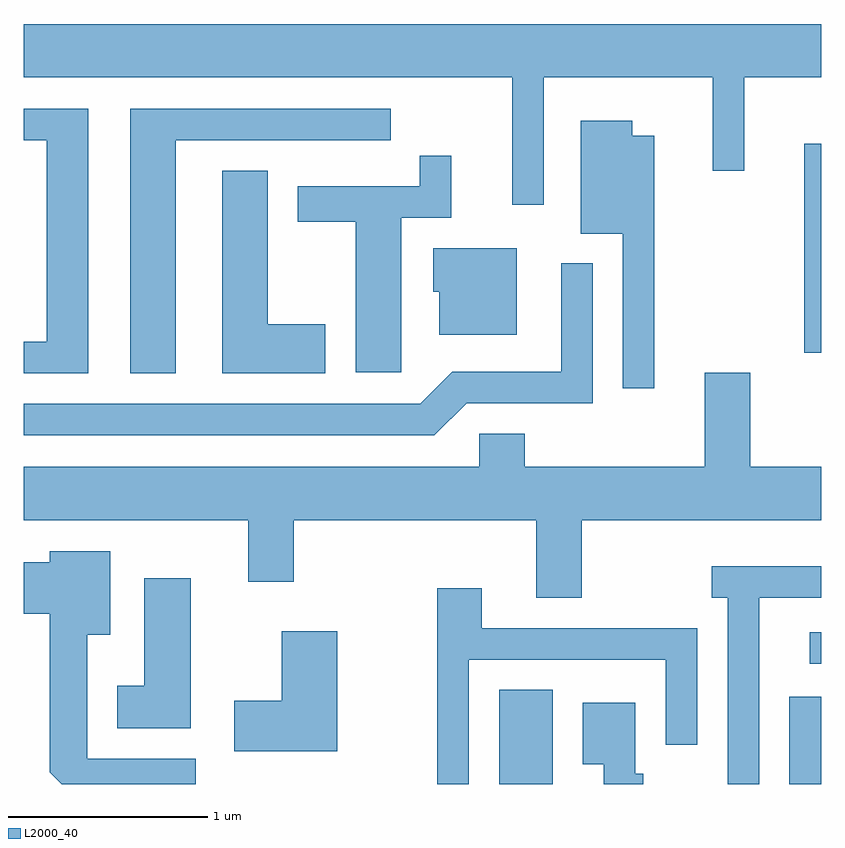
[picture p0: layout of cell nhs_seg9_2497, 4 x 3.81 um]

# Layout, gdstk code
import gdstk
lib = gdstk.Library(unit=1e-6, precision=1e-09)
def R(c, l, rs):  # rectangles x0, y0, x1, y1
    for r in rs: c.add(gdstk.rectangle(r[:2], r[2:], *l))
def P(c, l, *ps):  # polygons
    for p in ps: c.add(gdstk.Polygon(p, *l))
L2000_40 = (2000, 40)

nhs_seg9_2497 = lib.new_cell('nhs_seg9_2497')
R(nhs_seg9_2497, L2000_40, [(259.996,2050.432,260.264,2050.904), (261.451,2050.432,261.611,2050.869), (261.553,2051.036,261.611,2051.194), (261.526,2052.596,261.611,2053.644)])
P(nhs_seg9_2497, L2000_40, [(260.219,2053.976),(261.066,2053.976),(261.066,2053.508),(261.224,2053.508),(261.224,2053.976),(261.611,2053.976),(261.611,2054.244),(257.611,2054.244),(257.611,2053.976),(260.061,2053.976),(260.061,2053.338),(260.219,2053.338)],
  [(257.934,2053.819),(257.611,2053.819),(257.611,2053.661),(257.726,2053.661),(257.726,2052.649),(257.611,2052.649),(257.611,2052.491),(257.934,2052.491)],
  [(258.374,2053.661),(259.453,2053.661),(259.453,2053.819),(258.146,2053.819),(258.146,2052.491),(258.374,2052.491)],
  [(260.774,2053.684),(260.664,2053.684),(260.664,2053.759),(260.406,2053.759),(260.406,2053.191),(260.616,2053.191),(260.616,2052.418),(260.774,2052.418)],
  [(259.504,2053.271),(259.754,2053.271),(259.754,2053.583),(259.596,2053.583),(259.596,2053.429),(258.986,2053.429),(258.986,2053.251),(259.276,2053.251),(259.276,2052.496),(259.504,2052.496)],
  [(259.124,2052.739),(258.834,2052.739),(258.834,2053.509),(258.606,2053.509),(258.606,2052.491),(259.124,2052.491)],
  [(260.084,2053.119),(259.666,2053.119),(259.666,2052.901),(259.696,2052.901),(259.696,2052.686),(260.084,2052.686)],
  [(259.832,2052.341),(260.464,2052.341),(260.464,2053.043),(260.306,2053.043),(260.306,2052.499),(259.759,2052.499),(259.599,2052.339),(257.611,2052.339),(257.611,2052.181),(259.671,2052.181)],
  [(260.409,2051.756),(261.611,2051.756),(261.611,2052.024),(261.254,2052.024),(261.254,2052.494),(261.026,2052.494),(261.026,2052.024),(260.124,2052.024),(260.124,2052.189),(259.896,2052.189),(259.896,2052.024),(257.611,2052.024),(257.611,2051.756),(258.736,2051.756),(258.736,2051.446),(258.964,2051.446),(258.964,2051.756),(260.181,2051.756),(260.181,2051.366),(260.409,2051.366)],
  [(258.474,2050.559),(257.929,2050.559),(257.929,2051.181),(258.044,2051.181),(258.044,2051.599),(257.741,2051.599),(257.741,2051.544),(257.611,2051.544),(257.611,2051.286),(257.741,2051.286),(257.741,2050.492),(257.801,2050.432),(258.474,2050.432)],
  [(261.299,2051.366),(261.611,2051.366),(261.611,2051.524),(261.063,2051.524),(261.063,2051.366),(261.141,2051.366),(261.141,2050.432),(261.299,2050.432)],
  [(258.449,2051.464),(258.216,2051.464),(258.216,2050.924),(258.081,2050.924),(258.081,2050.711),(258.449,2050.711)],
  [(259.844,2051.056),(260.831,2051.056),(260.831,2050.628),(260.989,2050.628),(260.989,2051.214),(259.909,2051.214),(259.909,2051.414),(259.686,2051.414),(259.686,2050.432),(259.844,2050.432)],
  [(259.184,2051.199),(258.906,2051.199),(258.906,2050.849),(258.666,2050.849),(258.666,2050.596),(259.184,2050.596)],
  [(260.719,2050.484),(260.679,2050.484),(260.679,2050.839),(260.416,2050.839),(260.416,2050.531),(260.521,2050.531),(260.521,2050.432),(260.719,2050.432)])

lib.write_gds('nhs_seg9_2497.gds')
